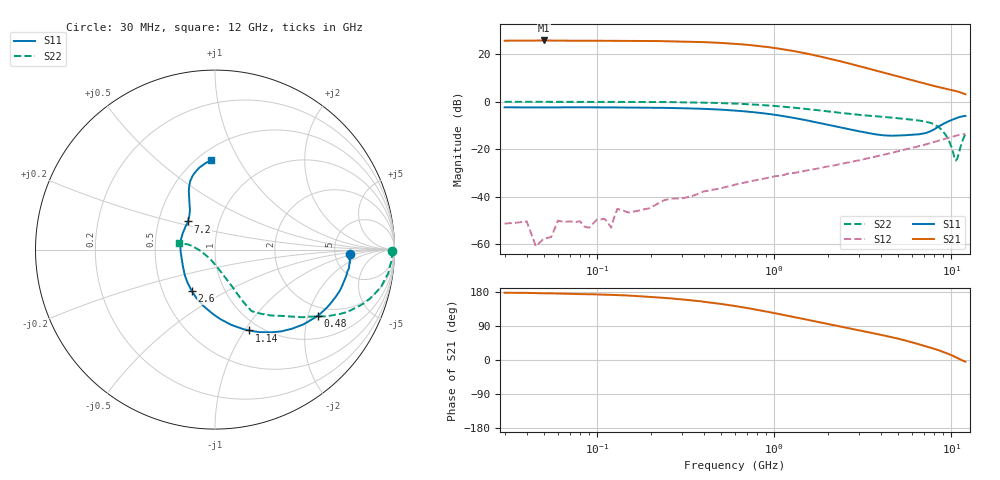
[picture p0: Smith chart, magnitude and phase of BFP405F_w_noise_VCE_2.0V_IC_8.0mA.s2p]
! Infineon Technologies  Discrete & RF Semiconductors
! BFP405F
! VCE =  2.0 V,  IC =  8.0 mA
! Common Emitter S-Parameters:  Nov 2015
# GHz  S  MA  R  50
!  f  S11  S21  S12  S22
! GHz  MAG  ANG  MAG  ANG  MAG  ANG  MAG  ANG
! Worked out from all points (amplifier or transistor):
!   239 points, 30 MHz to 12 GHz, reference 50 ohm
!   highest |S21| = 25.7 dB at 50 MHz (marker M1)
!   |S21| within 3 dB of that: start of sweep to 966.5 MHz
!   unconditionally stable (mu >= 1): 2.439 GHz to end of sweep
!   at 300 MHz: K = 0.14, MSG = 33.1 dB, |S12| = -40.8 dB
!   at 1.88 GHz: K = 0.84, MSG = 23.3 dB, |S12| = -27.8 dB
!   at 12 GHz: K = 1.41, MAG = 4.5 dB, |S12| = -13.7 dB
!   lowest NFmin = 1.52 dB at 450 MHz
!   S11 on the Smith chart (normalised r, x): 30 MHz: 7.05, -0.82; 480 MHz: 1.68, -2.31; 1.14 GHz: 0.89, -1.05; 2.6 GHz: 0.70, -0.35; 7.2 GHz: 0.71, +0.23; 12 GHz: 0.59, +0.77
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0.03  0.7544 -1.9  19.07 177.4  0.0027 79.3  0.9858 -0.6
0.045  0.7513 -3.3  19.2 176.5  0.0009 77.5  0.9841 -1.2
0.05  0.7486 -4.0  19.29 176.0  0.0013 -64.7  0.9826 -1.5
0.06  0.7552 -4.1  19.1 175.5  0.0031 54.5  0.9884 -1.9
0.085  0.7543 -5.8  19.05 173.8  0.0023 88.1  0.9857 -2.5
0.12  0.7511 -8.7  18.95 172.0  0.0022 78.0  0.986 -3.7
0.13  0.7473 -9.4  18.93 171.1  0.0055 90.9  0.9843 -4.1
0.145  0.747 -10.4  18.98 170.5  0.0048 100.4  0.9819 -4.5
0.24  0.7345 -17.1  18.62 163.9  0.0084 79.7  0.974 -7.7
0.34  0.714 -23.8  18.12 157.5  0.0101 80.2  0.9579 -10.6
0.48  0.6799 -32.8  17.26 149.1  0.0145 77.8  0.9306 -14.6
0.6  0.6453 -40.2  16.39 142.3  0.0178 73.2  0.9043 -17.7
0.9  0.5555 -56.1  14.16 127.8  0.0243 69.6  0.8307 -23.9
1.14  0.4887 -67.1  12.45 118.6  0.0287 67.7  0.774 -27.8
1.64  0.3806 -87.1  9.653 103.5  0.0369 63.9  0.6766 -33.5
2.08  0.3163 -102.8  7.915 93.5  0.0441 62.5  0.6116 -38.0
2.6  0.2645 -119.1  6.41 84.3  0.052 61.0  0.556 -42.0
4.5  0.1916 -169.2  3.723 61.3  0.0816 56.5  0.4618 -51.9
7.2  0.2177 133.8  2.343 35.9  0.1256 47.0  0.3744 -60.1
9  0.3381 115.5  1.914 21.2  0.1598 38.9  0.2316 -64.9
10.6  0.4424 104.8  1.661 7.4  0.1911 29.3  0.0572 -127.0
12  0.4969 92.3  1.42 -4.4  0.2075 21.5  0.2056 169.7
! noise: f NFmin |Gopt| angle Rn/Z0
0.45  1.52  0.27  6  0.33
0.9  1.54  0.24  12  0.32
1.5  1.6  0.23  17  0.29
1.9  1.63  0.21  23  0.3
2.4  1.77  0.2  31  0.33
3  1.84  0.18  45  0.31
3.5  1.9  0.16  52  0.3
4.5  2.05  0.13  55  0.2
5.5  2.24  0.07  59  0.06
